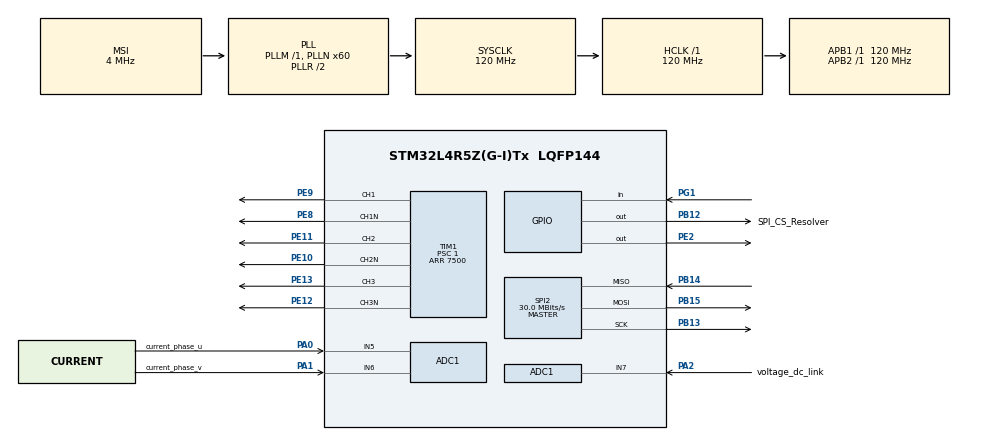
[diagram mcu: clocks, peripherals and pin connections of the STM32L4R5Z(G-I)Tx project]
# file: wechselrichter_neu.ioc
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ADC1.Channel-1\#ChannelRegularConversion=ADC_CHANNEL_5
ADC1.Channel-2\#ChannelRegularConversion=ADC_CHANNEL_6
ADC1.Channel-3\#ChannelRegularConversion=ADC_CHANNEL_7
ADC1.ClockPrescaler=ADC_CLOCK_ASYNC_DIV2
ADC1.ExternalTrigConv=ADC_EXTERNALTRIG_T1_TRGO
ADC1.ExternalTrigConvEdge=ADC_EXTERNALTRIGCONVEDGE_RISING
ADC1.NbrOfConversion=3
ADC1.NbrOfConversionFlag=1
ADC1.OffsetNumber-1\#ChannelRegularConversion=ADC_OFFSET_NONE
ADC1.OffsetNumber-2\#ChannelRegularConversion=ADC_OFFSET_NONE
ADC1.OffsetNumber-3\#ChannelRegularConversion=ADC_OFFSET_NONE
ADC1.Rank-1\#ChannelRegularConversion=1
ADC1.Rank-2\#ChannelRegularConversion=2
ADC1.Rank-3\#ChannelRegularConversion=3
ADC1.SamplingTime-1\#ChannelRegularConversion=ADC_SAMPLETIME_12CYCLES_5
ADC1.SamplingTime-2\#ChannelRegularConversion=ADC_SAMPLETIME_12CYCLES_5
ADC1.SamplingTime-3\#ChannelRegularConversion=ADC_SAMPLETIME_12CYCLES_5
ADC1.master=1
Mcu.Family=STM32L4
Mcu.Name=STM32L4R5Z(G-I)Tx
Mcu.Package=LQFP144
NVIC.ADC1_IRQn=true\:0\:0\:false\:false\:true\:true\:true
NVIC.PriorityGroup=NVIC_PRIORITYGROUP_4
PA0.GPIO_Label=current_phase_u
PA0.Signal=ADCx_IN5
PA1.GPIO_Label=current_phase_v
PA1.Signal=ADCx_IN6
PA13\ (JTMS/SWDIO).Mode=Trace_Asynchronous_SW
PA13\ (JTMS/SWDIO).Signal=SYS_JTMS-SWDIO
PA14\ (JTCK/SWCLK).Mode=Trace_Asynchronous_SW
PA14\ (JTCK/SWCLK).Signal=SYS_JTCK-SWCLK
PA2.GPIO_Label=voltage_dc_link
PA2.Signal=ADCx_IN7
PB12.GPIO_Label=SPI_CS_Resolver
PB12.PinState=GPIO_PIN_SET
PB12.Signal=GPIO_Output
PB13.Mode=Full_Duplex_Master
PB13.Signal=SPI2_SCK
PB14.Mode=Full_Duplex_Master
PB14.Signal=SPI2_MISO
PB15.Mode=Full_Duplex_Master
PB15.Signal=SPI2_MOSI
PB3\ (JTDO/TRACESWO).Mode=Trace_Asynchronous_SW
PB3\ (JTDO/TRACESWO).Signal=SYS_JTDO-SWO
PE10.Mode=PWM Generation2 CH2 CH2N
PE10.Signal=TIM1_CH2N
PE11.Signal=S_TIM1_CH2
PE12.Mode=PWM Generation3 CH3 CH3N
PE12.Signal=TIM1_CH3N
PE13.Signal=S_TIM1_CH3
PE2.Signal=GPIO_Output
PE8.Mode=PWM Generation1 CH1 CH1N
PE8.Signal=TIM1_CH1N
PE9.Signal=S_TIM1_CH1
PG1.Signal=GPIO_Input
ProjectManager.HeapSize=0x200
ProjectManager.StackSize=0x400
ProjectManager.TargetToolchain=MDK-ARM V5
RCC.ADCCLockSelection=RCC_ADCCLKSOURCE_SYSCLK
RCC.ADCFreq_Value=120000000
RCC.AHBFreq_Value=120000000
RCC.APB1Freq_Value=120000000
RCC.APB1TimFreq_Value=120000000
RCC.APB2Freq_Value=120000000
RCC.APB2TimFreq_Value=120000000
RCC.CortexFreq_Value=120000000
RCC.HCLKFreq_Value=120000000
RCC.HSE_VALUE=8000000
RCC.HSI48_VALUE=48000000
RCC.HSI_VALUE=16000000
RCC.LSE_VALUE=32768
RCC.MSI_VALUE=4000000
RCC.PLLN=60
RCC.PLLSAI1N=16
RCC.SYSCLKFreq_VALUE=120000000
RCC.SYSCLKSource=RCC_SYSCLKSOURCE_PLLCLK
RCC.USBFreq_Value=32000000
RCC.VCOOutputFreq_Value=240000000
SH.ADCx_IN5.0=ADC1_IN5,IN5-Single-Ended
SH.ADCx_IN6.0=ADC1_IN6,IN6-Single-Ended
SH.ADCx_IN7.0=ADC1_IN7,IN7-Single-Ended
SH.S_TIM1_CH1.0=TIM1_CH1,PWM Generation1 CH1 CH1N
SH.S_TIM1_CH2.0=TIM1_CH2,PWM Generation2 CH2 CH2N
SH.S_TIM1_CH3.0=TIM1_CH3,PWM Generation3 CH3 CH3N
SPI2.BaudRatePrescaler=SPI_BAUDRATEPRESCALER_4
SPI2.CLKPhase=SPI_PHASE_2EDGE
SPI2.CalculateBaudRate=30.0 MBits/s
SPI2.DataSize=SPI_DATASIZE_8BIT
SPI2.Direction=SPI_DIRECTION_2LINES
SPI2.Mode=SPI_MODE_MASTER
SPI2.VirtualType=VM_MASTER
TIM1.Channel-Output\ Compare4\ No\ Output=TIM_CHANNEL_4
TIM1.Channel-PWM\ Generation1\ CH1\ CH1N=TIM_CHANNEL_1
TIM1.Channel-PWM\ Generation2\ CH2\ CH2N=TIM_CHANNEL_2
TIM1.Channel-PWM\ Generation3\ CH3\ CH3N=TIM_CHANNEL_3
TIM1.CounterMode=TIM_COUNTERMODE_CENTERALIGNED1
TIM1.OCMode_4=TIM_OCMODE_TOGGLE
TIM1.Period=7500
TIM1.Prescaler=1
TIM1.Pulse-Output\ Compare4\ No\ Output=7200
TIM1.TIM_MasterOutputTrigger=TIM_TRGO_OC4REF
VP_TIM1_VS_ClockSourceINT.Mode=Internal
VP_TIM1_VS_no_output4.Mode=Output Compare4 No Output
board=custom

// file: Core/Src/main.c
/* USER CODE BEGIN Header */
/**
  ******************************************************************************
  * @file           : main.c
  * @brief          : Main program body
  ******************************************************************************
  * @attention
  *
  * <h2><center>&copy; Copyright (c) 2021 STMicroelectronics.
  * All rights reserved.</center></h2>
  *
  * This software component is licensed by ST under BSD 3-Clause license,
  * the "License"; You may not use this file except in compliance with the
  * License. You may obtain a copy of the License at:
  *                        opensource.org/licenses/BSD-3-Clause
  *
  ******************************************************************************
  */
/* USER CODE END Header */
#include "main.h"
#include "adc.h"
#include "spi.h"
#include "tim.h"
#include "gpio.h"

/* USER CODE BEGIN Includes */
#include "arm_math.h"

/* USER CODE END Includes */

/* USER CODE BEGIN PTD */
#define ADC_PHASE_U 0
#define ADC_PHASE_V 1
#define ADC_UZK 2
#define V_REF_CURRENT 3.3

/* USER CODE END PTD */

/* USER CODE BEGIN PV */
float32_t ADC_get_channel(unsigned long channel);
void foc_loop(float32_t *adc_injected_values);

float32_t adc_injected_val[3];

struct I_AB{
	float32_t a;
	float32_t b;
};

struct I_AB i_ab;
/* USER CODE END PV */

void SystemClock_Config(void);

/* USER CODE BEGIN 0 */
float sinVal,cosVal,theta_grad_el,i_alpha,i_beta,i_d,i_q,u_ref_d,u_ref_q,u_alpha,u_beta;
/* USER CODE END 0 */

int main(void)
{

  /* MCU Configuration--------------------------------------------------------*/

  /* Reset of all peripherals, Initializes the Flash interface and the Systick. */
  HAL_Init();

  /* Configure the system clock */
  SystemClock_Config();

  /* Initialize all configured peripherals */
  MX_GPIO_Init();
  MX_TIM1_Init();
  MX_ADC1_Init();
  MX_SPI2_Init();
  /* USER CODE BEGIN 2 */

	HAL_TIM_Base_Start(&htim1);
	HAL_ADC_Start_IT(&hadc1);

	HAL_TIM_PWM_Start(&htim1,TIM_CHANNEL_1);
	HAL_TIMEx_PWMN_Start(&htim1, TIM_CHANNEL_1);
	HAL_TIM_PWM_Start(&htim1,TIM_CHANNEL_2);
	HAL_TIMEx_PWMN_Start(&htim1, TIM_CHANNEL_2);
	HAL_TIM_PWM_Start(&htim1,TIM_CHANNEL_3);
	HAL_TIMEx_PWMN_Start(&htim1, TIM_CHANNEL_3);
__HAL_TIM_SET_COMPARE(&htim1, TIM_CHANNEL_1, 3750);
__HAL_TIM_SET_COMPARE(&htim1, TIM_CHANNEL_2, 3750);
__HAL_TIM_SET_COMPARE(&htim1, TIM_CHANNEL_3, 3750);

	HAL_ADCEx_Calibration_Start(&hadc1,ADC_SINGLE_ENDED);

  /* USER CODE END 2 */

  /* Infinite loop */
  while (1)
  {

  }
}

void SystemClock_Config(void)
{
  RCC_OscInitTypeDef RCC_OscInitStruct = {0};
  RCC_ClkInitTypeDef RCC_ClkInitStruct = {0};
  RCC_PeriphCLKInitTypeDef PeriphClkInit = {0};

  /** Configure the main internal regulator output voltage
  */
  if (HAL_PWREx_ControlVoltageScaling(PWR_REGULATOR_VOLTAGE_SCALE1_BOOST) != HAL_OK)
  {
    Error_Handler();
  }
  /** Initializes the RCC Oscillators according to the specified parameters
  * in the RCC_OscInitTypeDef structure.
  */
  RCC_OscInitStruct.OscillatorType = RCC_OSCILLATORTYPE_MSI;
  RCC_OscInitStruct.MSIState = RCC_MSI_ON;
  RCC_OscInitStruct.MSICalibrationValue = 0;
  RCC_OscInitStruct.MSIClockRange = RCC_MSIRANGE_6;
  RCC_OscInitStruct.PLL.PLLState = RCC_PLL_ON;
  RCC_OscInitStruct.PLL.PLLSource = RCC_PLLSOURCE_MSI;
  RCC_OscInitStruct.PLL.PLLM = 1;
  RCC_OscInitStruct.PLL.PLLN = 60;
  RCC_OscInitStruct.PLL.PLLP = RCC_PLLP_DIV2;
  RCC_OscInitStruct.PLL.PLLQ = RCC_PLLQ_DIV2;
  RCC_OscInitStruct.PLL.PLLR = RCC_PLLR_DIV2;
  if (HAL_RCC_OscConfig(&RCC_OscInitStruct) != HAL_OK)
  {
    Error_Handler();
  }
  /** Initializes the CPU, AHB and APB buses clocks
  */
  RCC_ClkInitStruct.ClockType = RCC_CLOCKTYPE_HCLK|RCC_CLOCKTYPE_SYSCLK
                              |RCC_CLOCKTYPE_PCLK1|RCC_CLOCKTYPE_PCLK2;
  RCC_ClkInitStruct.SYSCLKSource = RCC_SYSCLKSOURCE_PLLCLK;
  RCC_ClkInitStruct.AHBCLKDivider = RCC_SYSCLK_DIV1;
  RCC_ClkInitStruct.APB1CLKDivider = RCC_HCLK_DIV1;
  RCC_ClkInitStruct.APB2CLKDivider = RCC_HCLK_DIV1;

  if (HAL_RCC_ClockConfig(&RCC_ClkInitStruct, FLASH_LATENCY_5) != HAL_OK)
  {
    Error_Handler();
  }
  PeriphClkInit.PeriphClockSelection = RCC_PERIPHCLK_ADC;
  PeriphClkInit.AdcClockSelection = RCC_ADCCLKSOURCE_SYSCLK;
  if (HAL_RCCEx_PeriphCLKConfig(&PeriphClkInit) != HAL_OK)
  {
    Error_Handler();
  }
}

/* USER CODE BEGIN 4 */
float32_t ADC_get_channel(unsigned long channel){
	sConfig.Channel = channel;
	HAL_ADC_ConfigChannel(&hadc1, &sConfig);
//	HAL_ADC_Start(&hadc1);
//	if(HAL_ADC_PollForConversion(&hadc1,1) == HAL_OK){
//		return (HAL_ADC_GetValue(&hadc1)-273.)*0.39;
//		}
	return HAL_ADC_GetValue(&hadc1);
}

void HAL_ADC_ConvCpltCallback(ADC_HandleTypeDef *hadc)
{
  /* Prevent unused argument(s) compilation warning */
  UNUSED(hadc);
  HAL_GPIO_WritePin(GPIOE,GPIO_PIN_2,GPIO_PIN_SET);
	adc_injected_val[ADC_PHASE_U] = ADC_get_channel(ADC_CHANNEL_5);
	adc_injected_val[ADC_PHASE_V] = ADC_get_channel(ADC_CHANNEL_6);
	adc_injected_val[ADC_UZK]     = ADC_get_channel(ADC_CHANNEL_7);
	foc_loop(adc_injected_val);
	HAL_GPIO_WritePin(GPIOE,GPIO_PIN_2,GPIO_PIN_RESET);
}

void foc_loop(float32_t *adc_injected_values){
	i_ab.a = (adc_injected_val[ADC_PHASE_U]-273.)*0.5f;
	i_ab.b = (adc_injected_val[ADC_PHASE_V]-274.)*0.6f;
//	adc_injected_values[ADC_UZK] = (adc_injected_values[ADC_UZK]-273)*0.39;

	arm_sin_cos_f32 (theta_grad_el, &sinVal, &cosVal);
	arm_clarke_f32 (i_ab.a,i_ab.b, &i_alpha , &i_beta);
	arm_park_f32 (i_alpha, i_beta, &i_d, &i_q, sinVal, cosVal);
	arm_inv_park_f32 (u_ref_d, u_ref_q, &u_alpha, &u_beta, sinVal, cosVal);

	__HAL_TIM_SET_COMPARE(&htim1, TIM_CHANNEL_1, 3750);
  __HAL_TIM_SET_COMPARE(&htim1, TIM_CHANNEL_2, 3750);
  __HAL_TIM_SET_COMPARE(&htim1, TIM_CHANNEL_3, 3750);

}

/* USER CODE END 4 */

void Error_Handler(void)
{
  __disable_irq();
  while (1)
  {
  }
}

/************************ (C) COPYRIGHT STMicroelectronics *****END OF FILE****/
